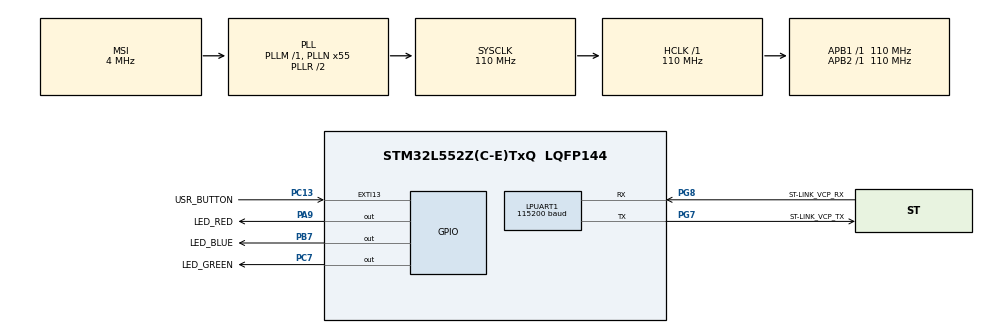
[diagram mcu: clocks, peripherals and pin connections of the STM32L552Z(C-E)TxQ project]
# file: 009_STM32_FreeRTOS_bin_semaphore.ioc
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LPUART1.BaudRate=115200
Mcu.Family=STM32L5
Mcu.Name=STM32L552Z(C-E)TxQ
Mcu.Package=LQFP144
Mcu.TrustZone=disable
NVIC.EXTI13_IRQn=true\:0\:0\:false\:false\:true\:true\:true
NVIC.LPUART1_IRQn=true\:0\:0\:false\:false\:true\:true\:true
NVIC.PriorityGroup=NVIC_PRIORITYGROUP_3
PA13\ (JTMS/SWDIO).Mode=Trace_Asynchronous_SW
PA13\ (JTMS/SWDIO).Signal=DEBUG_JTMS-SWDIO
PA14\ (JTCK/SWCLK).Mode=Trace_Asynchronous_SW
PA14\ (JTCK/SWCLK).Signal=DEBUG_JTCK-SWCLK
PA9.GPIO_Label=LED_RED
PA9.Signal=GPIO_Output
PB3\ (JTDO/TRACESWO).Mode=Trace_Asynchronous_SW
PB3\ (JTDO/TRACESWO).Signal=DEBUG_JTDO-SWO
PB7.GPIO_Label=LED_BLUE
PB7.Signal=GPIO_Output
PC13.GPIO_Label=USR_BUTTON
PC13.Signal=GPXTI13
PC14-OSC32_IN\ (PC14).Mode=LSE-External-Oscillator
PC14-OSC32_IN\ (PC14).Signal=RCC_OSC32_IN
PC15-OSC32_OUT\ (PC15).Mode=LSE-External-Oscillator
PC15-OSC32_OUT\ (PC15).Signal=RCC_OSC32_OUT
PC7.GPIO_Label=LED_GREEN
PC7.Signal=GPIO_Output
PG7.GPIO_Label=ST-LINK_VCP_TX
PG7.Mode=Asynchronous
PG7.Signal=LPUART1_TX
PG8.GPIO_Label=ST-LINK_VCP_RX
PG8.Mode=Asynchronous
PG8.Signal=LPUART1_RX
ProjectManager.HeapSize=0x200
ProjectManager.StackSize=0x400
ProjectManager.TargetToolchain=STM32CubeIDE
RCC.ADCCLockSelection=RCC_ADCCLKSOURCE_SYSCLK
RCC.ADCFreq_Value=110000000
RCC.AHBFreq_Value=110000000
RCC.APB1Freq_Value=110000000
RCC.APB1TimFreq_Value=110000000
RCC.APB2Freq_Value=110000000
RCC.APB2TimFreq_Value=110000000
RCC.CK48CLockSelection=RCC_USBCLKSOURCE_HSI48
RCC.CortexFreq_Value=110000000
RCC.HCLKFreq_Value=110000000
RCC.HSE_VALUE=8000000
RCC.HSI48_VALUE=48000000
RCC.HSI_VALUE=16000000
RCC.MSI_VALUE=4000000
RCC.PLLN=55
RCC.PLLSAI1N=24
RCC.RTCClockSelection=RCC_RTCCLKSOURCE_LSE
RCC.SYSCLKFreq_VALUE=110000000
RCC.SYSCLKSource=RCC_SYSCLKSOURCE_PLLCLK
RCC.USBFreq_Value=48000000
RCC.VCOOutputFreq_Value=220000000
VP_PWR_VS_SECSignals.Mode=Security/Privilege
board=NUCLEO-L552ZE-Q

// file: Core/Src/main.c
/* USER CODE BEGIN Header */
/**
 ******************************************************************************
 * @file           : main.c
 * @brief          : Example 009: Binary semaphore in FreeRTOS for NUCLEO-L552.
 *
 * @details There are two tasks:
 *              1. Manager task (higher priority)
 *              2. Employee task
 * When manager task runs it creates a "Ticket id" and posts it to the queue and
 * signal the employee task to process the "Ticket id".
 * When employee task runs it reads from the queue and process the "Ticket id"
 * posted by the manager task.
 * Binary semaphore is used to synchronize between manger and employee task.
 ******************************************************************************
 * @attention
 *
 * <h2><center>&copy; Copyright 2021 Leandro Medus.
 * All rights reserved.</center></h2>
 *
 * Permission is hereby granted, free of charge, to any person obtaining a copy
 * of this software and associated documentation files (the "Software"), to deal
 * in the Software without restriction, including without limitation the rights
 * to use, copy, modify, merge, publish, distribute, sublicense, and/or sell
 * copies of the Software, and to permit persons to whom the Software is
 * furnished to do so, subject to the following conditions:
 *
 * The above copyright notice and this permission notice shall be included in all
 * copies or substantial portions of the Software.
 *
 * THE SOFTWARE IS PROVIDED "AS IS", WITHOUT WARRANTY OF ANY KIND, EXPRESS OR
 * IMPLIED, INCLUDING BUT NOT LIMITED TO THE WARRANTIES OF MERCHANTABILITY,
 * FITNESS FOR A PARTICULAR PURPOSE AND NONINFRINGEMENT. IN NO EVENT SHALL THE
 * AUTHORS OR COPYRIGHT HOLDERS BE LIABLE FOR ANY CLAIM, DAMAGES OR OTHER
 * LIABILITY, WHETHER IN AN ACTION OF CONTRACT, TORT OR OTHERWISE, ARISING FROM,
 * OUT OF OR IN CONNECTION WITH THE SOFTWARE OR THE USE OR OTHER DEALINGS IN THE
 * SOFTWARE.
 *
 ******************************************************************************
 */

/*
 * Other useful functions:
 *
 *      SEGGER_SYSVIEW_PrintfTarget("Task-1 is yielding");
 *      traceISR_ENTER();
 *      traceISR_EXIT();
 *      traceISR_EXIT_TO_SCHEDULER();
 *      taskYIELD();
 * */

/* USER CODE END Header */
#include "main.h"

/* USER CODE BEGIN Includes */
#include "FreeRTOS.h"
#include "task.h"
#include "queue.h"
#include "semphr.h"
#include "timers.h"

#include <stdio.h>
#include <stdlib.h>
#include <string.h>
//#include <stdbool.h>
/* USER CODE END Includes */

/* USER CODE BEGIN PTD */
#define TRUE                1
#define FALSE               0

#define DWT_CTRL    (*(volatile uint32_t*)0xE0001000)       /* Data Watchpoint and Trace Unit */
/* USER CODE END PTD */

UART_HandleTypeDef hlpuart1;

/* USER CODE BEGIN PV */

char usr_msg[250] = {0};

TaskHandle_t xTaskHandleM=NULL;
TaskHandle_t xTaskHandleE=NULL;

/* Declare a variable of type xSemaphoreHandle.  This is used to reference the
semaphore that is used to synchronize both manager and employee task */
SemaphoreHandle_t xWork;

/* this is the queue which manager uses to put the work ticket id */
QueueHandle_t xWorkQueue;

/* USER CODE END PV */

void SystemClock_Config(void);
static void MX_GPIO_Init(void);
static void MX_LPUART1_UART_Init(void);
/* USER CODE BEGIN PFP */

void sendString(char *msg);
void EmployeeDoWork(unsigned int TicketId);
static void vManagerTask( void *pvParameters );
static void vEmployeeTask( void *pvParameters );

/* USER CODE END PFP */

int main(void)
{
    /* USER CODE BEGIN 1 */
    BaseType_t status;

    char msg_program_init [] = "[info] ---- Example 009: Binary semaphore in FreeRTOS for NUCLEO-L552. ----\r\n";

    /* USER CODE END 1 */

    /* MCU Configuration--------------------------------------------------------*/

    /* Reset of all peripherals, Initializes the Flash interface and the Systick. */
    HAL_Init();

    /* Configure the system clock */
    SystemClock_Config();

    /* Initialize all configured peripherals */
    MX_GPIO_Init();
    MX_LPUART1_UART_Init();
    /* USER CODE BEGIN 2 */

    DWT_CTRL |= ( 1 << 0);                      // Enable the CYCCNT counter. (to maintain time stamps in Segger)

    sendString(msg_program_init);               // send program description with UART

    SEGGER_SYSVIEW_Conf();
    SEGGER_SYSVIEW_Start();                     // Start recording with SEGGER

    /* Before a semaphore is used it must be explicitly created.
     * In this example a binary semaphore is created . */
    vSemaphoreCreateBinary( xWork );

    /* The queue is created to hold a maximum of 1 Element. */
    xWorkQueue = xQueueCreate( 1, sizeof( unsigned int ) );

    status = xTaskCreate(
            vManagerTask,               // name of the task handler
            "Manager",                  // descriptive name. (Could be NULL)
            configMINIMAL_STACK_SIZE,   // stack space ([words] = 4*words [bytes])
            "Task-Manager [info]",      // pvParameters
            2,                          // priority of the task
            NULL);                      // handler to the TCB (task controller block)

    configASSERT(status == pdPASS);

    status = xTaskCreate(
            vEmployeeTask,
            "Employee",
            configMINIMAL_STACK_SIZE,
            "Task-Employee [info]",
            1,
            NULL);

    configASSERT(status == pdPASS);

    if(xWorkQueue != NULL && xWork != NULL)
    {
        vTaskStartScheduler();                  // start the freeRTOS scheduler
    }
    else
    {
        sprintf(usr_msg,"Queue or Semaphore creation failed\r\n");
        sendString(usr_msg);
    }

    /* USER CODE END 2 */

    /* Infinite loop */
    /* USER CODE BEGIN WHILE */
    while (1)
    {
        /* Execution must not reach this point */

        /* USER CODE END WHILE */

    }
}

void SystemClock_Config(void)
{
    RCC_OscInitTypeDef RCC_OscInitStruct = {0};
    RCC_ClkInitTypeDef RCC_ClkInitStruct = {0};

    /** Configure the main internal regulator output voltage
     */
    if (HAL_PWREx_ControlVoltageScaling(PWR_REGULATOR_VOLTAGE_SCALE0) != HAL_OK)
    {
        Error_Handler();
    }
    /** Initializes the RCC Oscillators according to the specified parameters
     * in the RCC_OscInitTypeDef structure.
     */
    RCC_OscInitStruct.OscillatorType = RCC_OSCILLATORTYPE_MSI;
    RCC_OscInitStruct.MSIState = RCC_MSI_ON;
    RCC_OscInitStruct.MSICalibrationValue = RCC_MSICALIBRATION_DEFAULT;
    RCC_OscInitStruct.MSIClockRange = RCC_MSIRANGE_6;
    RCC_OscInitStruct.PLL.PLLState = RCC_PLL_ON;
    RCC_OscInitStruct.PLL.PLLSource = RCC_PLLSOURCE_MSI;
    RCC_OscInitStruct.PLL.PLLM = 1;
    RCC_OscInitStruct.PLL.PLLN = 55;
    RCC_OscInitStruct.PLL.PLLP = RCC_PLLP_DIV7;
    RCC_OscInitStruct.PLL.PLLQ = RCC_PLLQ_DIV2;
    RCC_OscInitStruct.PLL.PLLR = RCC_PLLR_DIV2;
    if (HAL_RCC_OscConfig(&RCC_OscInitStruct) != HAL_OK)
    {
        Error_Handler();
    }
    /** Initializes the CPU, AHB and APB buses clocks
     */
    RCC_ClkInitStruct.ClockType = RCC_CLOCKTYPE_HCLK|RCC_CLOCKTYPE_SYSCLK
            |RCC_CLOCKTYPE_PCLK1|RCC_CLOCKTYPE_PCLK2;
    RCC_ClkInitStruct.SYSCLKSource = RCC_SYSCLKSOURCE_PLLCLK;
    RCC_ClkInitStruct.AHBCLKDivider = RCC_SYSCLK_DIV1;
    RCC_ClkInitStruct.APB1CLKDivider = RCC_HCLK_DIV1;
    RCC_ClkInitStruct.APB2CLKDivider = RCC_HCLK_DIV1;

    if (HAL_RCC_ClockConfig(&RCC_ClkInitStruct, FLASH_LATENCY_5) != HAL_OK)
    {
        Error_Handler();
    }
}

static void MX_LPUART1_UART_Init(void)
{

    hlpuart1.Instance = LPUART1;
    hlpuart1.Init.BaudRate = 115200;
    hlpuart1.Init.WordLength = UART_WORDLENGTH_8B;
    hlpuart1.Init.StopBits = UART_STOPBITS_1;
    hlpuart1.Init.Parity = UART_PARITY_NONE;
    hlpuart1.Init.Mode = UART_MODE_TX_RX;
    hlpuart1.Init.HwFlowCtl = UART_HWCONTROL_NONE;
    hlpuart1.Init.OneBitSampling = UART_ONE_BIT_SAMPLE_DISABLE;
    hlpuart1.Init.ClockPrescaler = UART_PRESCALER_DIV1;
    hlpuart1.AdvancedInit.AdvFeatureInit = UART_ADVFEATURE_NO_INIT;
    hlpuart1.FifoMode = UART_FIFOMODE_DISABLE;
    if (HAL_UART_Init(&hlpuart1) != HAL_OK)
    {
        Error_Handler();
    }
    if (HAL_UARTEx_SetTxFifoThreshold(&hlpuart1, UART_TXFIFO_THRESHOLD_1_8) != HAL_OK)
    {
        Error_Handler();
    }
    if (HAL_UARTEx_SetRxFifoThreshold(&hlpuart1, UART_RXFIFO_THRESHOLD_1_8) != HAL_OK)
    {
        Error_Handler();
    }
    if (HAL_UARTEx_DisableFifoMode(&hlpuart1) != HAL_OK)
    {
        Error_Handler();
    }
    /* USER CODE BEGIN LPUART1_Init 2 */

    // enabling interrupt for the flag
    __HAL_UART_ENABLE_IT(&hlpuart1, UART_IT_RXNE);

    /* USER CODE END LPUART1_Init 2 */

}

static void MX_GPIO_Init(void)
{
    GPIO_InitTypeDef GPIO_InitStruct = {0};

    /* GPIO Ports Clock Enable */
    __HAL_RCC_GPIOC_CLK_ENABLE();
    __HAL_RCC_GPIOG_CLK_ENABLE();
    HAL_PWREx_EnableVddIO2();
    __HAL_RCC_GPIOA_CLK_ENABLE();
    __HAL_RCC_GPIOB_CLK_ENABLE();

    /*Configure GPIO pin Output Level */
    HAL_GPIO_WritePin(LED_GREEN_GPIO_Port, LED_GREEN_Pin, GPIO_PIN_RESET);

    /*Configure GPIO pin Output Level */
    HAL_GPIO_WritePin(LED_RED_GPIO_Port, LED_RED_Pin, GPIO_PIN_RESET);

    /*Configure GPIO pin Output Level */
    HAL_GPIO_WritePin(LED_BLUE_GPIO_Port, LED_BLUE_Pin, GPIO_PIN_RESET);

    /*Configure GPIO pin : USR_BUTTON_Pin */
    GPIO_InitStruct.Pin = USR_BUTTON_Pin;
    GPIO_InitStruct.Mode = GPIO_MODE_IT_RISING;
    GPIO_InitStruct.Pull = GPIO_NOPULL;
    HAL_GPIO_Init(USR_BUTTON_GPIO_Port, &GPIO_InitStruct);

    /*Configure GPIO pin : LED_GREEN_Pin */
    GPIO_InitStruct.Pin = LED_GREEN_Pin;
    GPIO_InitStruct.Mode = GPIO_MODE_OUTPUT_PP;
    GPIO_InitStruct.Pull = GPIO_NOPULL;
    GPIO_InitStruct.Speed = GPIO_SPEED_FREQ_LOW;
    HAL_GPIO_Init(LED_GREEN_GPIO_Port, &GPIO_InitStruct);

    /*Configure GPIO pin : LED_RED_Pin */
    GPIO_InitStruct.Pin = LED_RED_Pin;
    GPIO_InitStruct.Mode = GPIO_MODE_OUTPUT_PP;
    GPIO_InitStruct.Pull = GPIO_NOPULL;
    GPIO_InitStruct.Speed = GPIO_SPEED_FREQ_LOW;
    HAL_GPIO_Init(LED_RED_GPIO_Port, &GPIO_InitStruct);

    /*Configure GPIO pin : LED_BLUE_Pin */
    GPIO_InitStruct.Pin = LED_BLUE_Pin;
    GPIO_InitStruct.Mode = GPIO_MODE_OUTPUT_PP;
    GPIO_InitStruct.Pull = GPIO_NOPULL;
    GPIO_InitStruct.Speed = GPIO_SPEED_FREQ_LOW;
    HAL_GPIO_Init(LED_BLUE_GPIO_Port, &GPIO_InitStruct);

    /* EXTI interrupt init*/
    HAL_NVIC_SetPriority(EXTI13_IRQn, 0, 0);
    HAL_NVIC_EnableIRQ(EXTI13_IRQn);

}

/* USER CODE BEGIN 4 */

/* --------------------------------------------------------------------------*/

/**
 * @brief  This function send a string using the UART
 * @retval None
 */
void sendString(char *msg)
{
    sprintf(usr_msg, msg);

    // sending a string
    HAL_UART_Transmit(&hlpuart1, (uint8_t *) usr_msg, strlen(usr_msg), 100);
}

/**
 * @brief
 * @details
 *
 * @retval None
 */
void vManagerTask( void *pvParameters )
{

    unsigned int xWorkTicketId;
    portBASE_TYPE xStatus;

    /* The semaphore is created in the 'empty' state, meaning the semaphore must
     first be given using the xSemaphoreGive() API function before it
     can subsequently be taken (obtained) */
    xSemaphoreGive( xWork);

    for( ;; )
    {
        /* get a work ticket id(some random number) */
        xWorkTicketId = ( rand() & 0x1FF );

        /* Sends work ticket id to the work queue */
        xStatus = xQueueSend( xWorkQueue, &xWorkTicketId , portMAX_DELAY ); //Post an item on back of the queue

        if( xStatus != pdPASS )
        {
            sprintf(usr_msg,"Could not send to the queue.\r\n");
            sendString(usr_msg);

        }else
        {
            sprintf(usr_msg,"xWorkTicketId: %d", xWorkTicketId);
            SEGGER_SYSVIEW_PrintfTarget(usr_msg);

            /* Manager notifying the employee by "Giving" semaphore */
            xSemaphoreGive( xWork);
            /* after assigning the work , just yield the processor because nothing to do */
            taskYIELD();

        }
    }
}

/**
 * @brief
 * @details
 *
 * @retval None
 */
void EmployeeDoWork(unsigned int TicketId)
{
    /* implement the work according to TickedID */
    sprintf(usr_msg,"Employee task : Working on Ticked id : %d\r\n",TicketId);
    sendString(usr_msg);
    //    vTaskDelay(TicketId);
    vTaskDelay(pdMS_TO_TICKS(TicketId));
}

/**
 * @brief
 * @details
 *
 * @retval None
 */
static void vEmployeeTask( void *pvParameters )
{

    unsigned int xWorkTicketId;
    portBASE_TYPE xStatus;
    /* As per most tasks, this task is implemented within an infinite loop. */
    for( ;; )
    {
        /* First Employee tries to take the semaphore, if it is available that means there is a task assigned by manager, otherwise employee task will be blocked */
        xSemaphoreTake( xWork, 0 );

        /* get the ticket id from the work queue */
        xStatus = xQueueReceive( xWorkQueue, &xWorkTicketId, 0 );

        if( xStatus == pdPASS )
        {
            /* employee may decode the xWorkTicketId in this function to do the work*/
            EmployeeDoWork(xWorkTicketId);
        }
        else
        {
            /* We did not receive anything from the queue.  This must be an error as this task should only run when the manager assigns at least one work. */
            sprintf(usr_msg,"Employee task : Queue is empty , nothing to do.\r\n");
            sendString(usr_msg);
        }
    }
}

/* --------------------------------------------------------------------------*/
/* USER CODE END 4 */

void Error_Handler(void)
{
    /* USER CODE BEGIN Error_Handler_Debug */
    /* User can add his own implementation to report the HAL error return state */
    __disable_irq();
    while (1)
    {
        __NOP();
    }
    /* USER CODE END Error_Handler_Debug */
}

/************************ (C) COPYRIGHT STMicroelectronics *****END OF FILE****/
